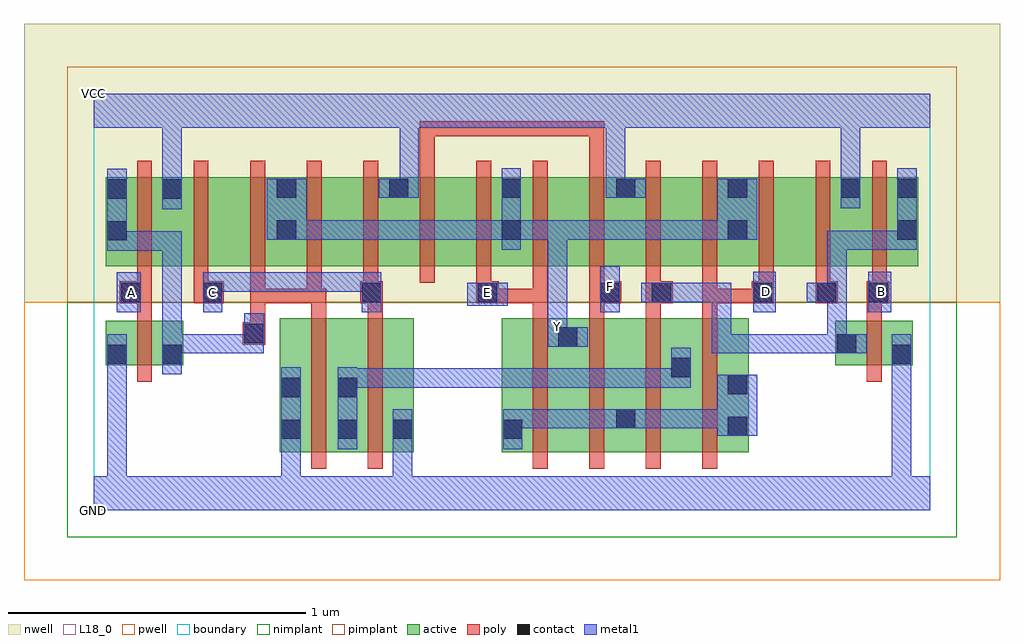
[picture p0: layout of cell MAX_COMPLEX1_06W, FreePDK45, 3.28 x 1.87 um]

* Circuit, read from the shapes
.subckt MAX_COMPLEX1_06W A B C D E F GND VCC Y
M1 n1 A GND VSUBS nfet w=0.15u l=0.05u
M2 n2 n1 GND VSUBS nfet w=0.45u l=0.05u
M3 GND C n2 VSUBS nfet w=0.45u l=0.05u
M4 Y E n3 VSUBS nfet w=0.45u l=0.05u
M5 n3 F Y VSUBS nfet w=0.45u l=0.05u
M6 n2 n4 n3 VSUBS nfet w=0.45u l=0.05u
M7 n3 D n2 VSUBS nfet w=0.45u l=0.05u
M8 GND B n4 VSUBS nfet w=0.15u l=0.05u
M9 VCC A n1 n5 pfet w=0.3u l=0.05u
M10 n6 C VCC n5 pfet w=0.3u l=0.05u
M11 Y n1 n6 n5 pfet w=0.3u l=0.05u
M12 n7 n1 Y n5 pfet w=0.3u l=0.05u
M13 VCC C n7 n5 pfet w=0.3u l=0.05u
M14 n8 F VCC n5 pfet w=0.3u l=0.05u
M15 Y E n8 n5 pfet w=0.3u l=0.05u
M16 n9 E Y n5 pfet w=0.3u l=0.05u
M17 VCC F n9 n5 pfet w=0.3u l=0.05u
M18 n10 n4 VCC n5 pfet w=0.3u l=0.05u
M19 Y D n10 n5 pfet w=0.3u l=0.05u
M20 n11 D Y n5 pfet w=0.3u l=0.05u
M21 VCC n4 n11 n5 pfet w=0.3u l=0.05u
M22 n4 B VCC n5 pfet w=0.3u l=0.05u
.ends

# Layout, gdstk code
import gdstk
lib = gdstk.Library(unit=1e-6, precision=1e-09)
def R(c, l, rs):  # rectangles x0, y0, x1, y1
    for r in rs: c.add(gdstk.rectangle(r[:2], r[2:], *l))
def A(c, l, x, y, w, h, nx, ny, dx, dy):  # array of equal rectangles
    R(c, l, [(x+i*dx, y+j*dy, x+i*dx+w, y+j*dy+h) for i in range(nx) for j in range(ny)])
active = (1, 0)
pwell = (2, 0)
nwell = (3, 0)
nimplant = (4, 0)
pimplant = (5, 0)
poly = (9, 0)
contact = (10, 0)
metal1 = (11, 0)
L18_0 = (18, 0)
boundary = (235, 0)

max_complex1_06w = lib.new_cell('MAX_COMPLEX1_06W')
R(max_complex1_06w, active, [(0.625,0.195,0.7,0.645), (0.625,0.195,0.89,0.645), (0.815,0.195,0.89,0.542), (0.815,0.195,1.075,0.645), (1,0.195,1.075,0.645), (1.37,0.195,1.445,0.645), (1.37,0.195,1.63,0.645), (1.555,0.195,1.63,0.645), (1.555,0.195,1.825,0.645), (1.75,0.195,1.825,0.542), (1.75,0.195,2.01,0.645), (1.935,0.195,2.2,0.645), (1.935,0.195,2.01,0.542), (2.125,0.195,2.2,0.645), (0.04,0.487,0.115,0.637), (0.04,0.487,0.3,0.637), (0.225,0.487,0.3,0.637), (2.492,0.487,2.752,0.637), (2.677,0.487,2.752,0.637), (2.492,0.495,2.567,0.637), (0.04,0.82,0.115,1.12), (0.04,0.82,0.3,1.12), (0.225,0.82,0.3,1.12), (0.225,0.82,0.455,1.12), (0.455,0.82,0.685,1.12), (0.61,0.82,0.685,1.12), (0.61,0.82,0.835,1.12), (0.835,0.82,1.062,1.12), (0.987,0.82,1.215,1.12), (1.215,0.82,1.44,1.12), (1.365,0.82,1.44,1.12), (1.365,0.82,1.595,1.12), (1.595,0.82,1.825,1.12), (1.75,0.82,1.975,1.12), (1.975,0.82,2.2,1.12), (2.125,0.82,2.2,1.12), (2.125,0.82,2.355,1.12), (2.355,0.82,2.58,1.12), (2.505,0.82,2.58,1.12), (2.505,0.82,2.77,1.12), (2.695,0.82,2.77,1.12), (0.987,0.852,1.062,1.12), (1.75,0.852,1.825,1.12)])
R(max_complex1_06w, pwell, [(-0.235,-0.235,3.045,0.7)])
R(max_complex1_06w, nwell, [(-0.235,0.7,3.045,1.635)])
R(max_complex1_06w, nimplant, [(-0.09,-0.09,2.9,0.7)])
R(max_complex1_06w, pimplant, [(-0.09,0.7,2.9,1.49)])
A(max_complex1_06w, poly, 1.475, 0.14, 0.05, 0.56, 4, 1, 0.19, 0)
A(max_complex1_06w, poly, 1.475, 0.65, 0.05, 0.095, 4, 1, 0.19, 0)
A(max_complex1_06w, poly, 0.905, 0.72, 0.05, 0.095, 3, 1, 0.38, 0)
A(max_complex1_06w, poly, 2.235, 0.72, 0.05, 0.095, 3, 1, 0.19, 0)
A(max_complex1_06w, poly, 0.145, 0.765, 0.05, 0.41, 14, 1, 0.19, 0)
R(max_complex1_06w, poly, [(0.73,0.14,0.78,0.7), (0.92,0.14,0.97,0.7), (0.145,0.432,0.195,0.692), (2.597,0.432,2.647,0.692), (0.5,0.557,0.575,0.632), (0.525,0.582,0.575,0.632), (0.525,0.582,0.575,0.632), (0.525,0.582,0.575,0.745), (0.145,0.642,0.195,0.745), (2.597,0.642,2.647,0.745), (0.73,0.65,0.78,0.745), (0.92,0.65,0.97,0.745), (0.087,0.695,0.195,0.77), (0.335,0.695,0.437,0.77), (0.525,0.695,0.575,0.745), (0.525,0.695,0.575,0.815), (0.525,0.695,0.765,0.745), (0.715,0.695,0.765,0.745), (0.715,0.695,0.765,0.745), (0.715,0.695,0.765,0.815), (0.715,0.695,0.78,0.745), (0.895,0.695,0.97,0.77), (1.285,0.695,1.36,0.77), (1.31,0.695,1.36,0.745), (1.31,0.695,1.36,0.745), (1.31,0.695,1.525,0.745), (1.475,0.695,1.525,0.745), (1.475,0.695,1.525,0.815), (1.665,0.695,1.772,0.77), (1.855,0.695,1.945,0.77), (2.045,0.695,2.095,0.745), (2.045,0.695,2.26,0.745), (2.045,0.695,2.095,0.815), (2.21,0.695,2.285,0.77), (2.21,0.695,2.26,0.745), (2.21,0.695,2.26,0.745), (2.425,0.695,2.5,0.77), (2.597,0.695,2.672,0.77), (0.145,0.72,0.195,0.815), (0.335,0.72,0.385,0.815), (1.855,0.72,1.905,0.815), (1.095,1.125,1.145,1.307), (1.665,1.125,1.715,1.307), (1.095,1.257,1.145,1.307), (1.095,1.257,1.145,1.307), (1.095,1.257,1.145,1.307), (1.095,1.257,1.392,1.307), (1.342,1.257,1.392,1.307), (1.342,1.257,1.582,1.307), (1.532,1.257,1.582,1.307), (1.532,1.257,1.582,1.307), (1.532,1.257,1.582,1.307), (1.532,1.257,1.715,1.307), (1.665,1.257,1.715,1.307), (1.665,1.257,1.715,1.307), (1.665,1.257,1.715,1.307)])
R(max_complex1_06w, contact, [(0.63,0.24,0.695,0.305), (0.82,0.24,0.885,0.305), (1.005,0.24,1.07,0.305), (1.375,0.24,1.44,0.305), (2.13,0.25,2.195,0.315), (1.755,0.275,1.82,0.34), (0.63,0.38,0.695,0.445), (0.82,0.38,0.885,0.445), (2.13,0.39,2.195,0.455), (1.94,0.447,2.005,0.512), (0.045,0.492,0.11,0.557), (0.23,0.492,0.295,0.557), (2.682,0.492,2.747,0.557), (2.497,0.527,2.562,0.592), (1.56,0.55,1.625,0.615), (0.505,0.562,0.57,0.627), (0.092,0.7,0.157,0.765), (0.367,0.7,0.432,0.765), (0.9,0.7,0.965,0.765), (1.29,0.7,1.355,0.765), (1.702,0.7,1.767,0.765), (1.875,0.7,1.94,0.765), (2.215,0.7,2.28,0.765), (2.43,0.7,2.495,0.765), (2.602,0.7,2.667,0.765), (0.045,0.907,0.11,0.972), (0.615,0.91,0.68,0.975), (1.37,0.91,1.435,0.975), (2.13,0.91,2.195,0.975), (2.7,0.91,2.765,0.975), (0.045,1.047,0.11,1.112), (0.23,1.047,0.295,1.112), (0.615,1.05,0.68,1.115), (0.992,1.05,1.057,1.115), (1.37,1.05,1.435,1.115), (1.755,1.05,1.82,1.115), (2.13,1.05,2.195,1.115), (2.51,1.05,2.575,1.115), (2.7,1.05,2.765,1.115)])
R(max_complex1_06w, metal1, [(0,0,2.81,0.115), (0.045,0.05,0.11,0.115), (0.045,0.05,0.11,0.115), (0.045,0.05,0.11,0.115), (0.045,0.05,0.11,0.115), (0.045,0.05,0.11,0.522), (0.63,0.05,0.695,0.27), (1.005,0.05,1.07,0.115), (1.005,0.05,1.07,0.115), (1.005,0.05,1.07,0.27), (2.682,0.05,2.747,0.115), (2.682,0.05,2.747,0.115), (2.682,0.05,2.747,0.115), (2.682,0.05,2.747,0.115), (2.682,0.05,2.747,0.522), (0.63,0.205,0.695,0.27), (0.63,0.205,0.695,0.27), (0.63,0.205,0.695,0.48), (0.82,0.205,0.885,0.48), (1.005,0.205,1.07,0.34), (1.375,0.205,1.44,0.34), (2.095,0.25,2.23,0.455), (1.375,0.275,1.44,0.34), (1.375,0.275,1.44,0.34), (1.375,0.275,1.647,0.34), (1.582,0.275,1.647,0.34), (1.582,0.275,1.647,0.34), (1.582,0.275,1.647,0.34), (1.582,0.275,1.785,0.34), (1.72,0.275,1.855,0.34), (1.79,0.275,2.005,0.34), (1.94,0.275,2.005,0.34), (1.94,0.275,2.005,0.34), (1.94,0.275,2.005,0.34), (1.94,0.275,2.142,0.34), (2.077,0.275,2.142,0.34), (2.077,0.275,2.16,0.34), (0.82,0.412,0.885,0.477), (0.82,0.412,0.885,0.477), (0.82,0.412,1.155,0.477), (1.09,0.412,1.155,0.477), (1.09,0.412,1.155,0.477), (1.09,0.412,1.155,0.477), (1.09,0.412,1.292,0.477), (1.227,0.412,1.292,0.477), (1.227,0.412,1.292,0.477), (1.227,0.412,1.292,0.477), (1.227,0.412,1.452,0.477), (1.387,0.412,1.452,0.477), (1.387,0.412,1.452,0.477), (1.387,0.412,1.452,0.477), (1.387,0.412,1.452,0.477), (1.387,0.412,1.452,0.477), (1.387,0.412,1.647,0.477), (1.582,0.412,1.647,0.477), (1.582,0.412,1.647,0.477), (1.582,0.412,1.647,0.477), (1.582,0.412,1.797,0.477), (1.732,0.412,1.797,0.477), (1.732,0.412,1.797,0.477), (1.732,0.412,1.797,0.477), (1.732,0.412,1.797,0.477), (1.732,0.412,1.797,0.477), (1.732,0.412,2.005,0.477), (1.94,0.412,2.005,0.547), (0.045,0.457,0.11,0.522), (0.045,0.457,0.11,0.522), (0.045,0.457,0.11,0.592), (0.23,0.457,0.295,0.592), (2.682,0.457,2.747,0.522), (2.682,0.457,2.747,0.522), (2.682,0.457,2.747,0.592), (0.23,0.527,0.295,0.592), (0.23,0.527,0.295,0.592), (0.23,0.527,0.507,0.592), (0.23,0.527,0.295,0.937), (0.442,0.527,0.507,0.592), (0.442,0.527,0.507,0.592), (0.442,0.527,0.507,0.592), (0.442,0.527,0.57,0.592), (0.505,0.527,0.57,0.662), (2.077,0.527,2.142,0.592), (2.077,0.527,2.142,0.765), (2.077,0.527,2.322,0.592), (2.257,0.527,2.322,0.592), (2.257,0.527,2.322,0.592), (2.257,0.527,2.322,0.592), (2.257,0.527,2.527,0.592), (2.462,0.527,2.527,0.592), (2.462,0.527,2.527,0.592), (2.462,0.527,2.597,0.592), (2.465,0.527,2.53,0.765), (1.525,0.55,1.59,0.615), (1.525,0.55,1.59,0.685), (1.525,0.55,1.66,0.615), (1.525,0.62,1.59,0.975), (0.077,0.665,0.157,0.8), (0.367,0.665,0.432,0.8), (0.9,0.665,0.965,0.8), (1.702,0.665,1.767,0.82), (2.215,0.665,2.292,0.802), (2.602,0.665,2.68,0.802), (1.255,0.687,1.39,0.765), (1.84,0.7,1.975,0.765), (1.91,0.7,2.005,0.765), (1.94,0.7,2.005,0.765), (1.94,0.7,2.142,0.765), (2.077,0.7,2.142,0.765), (2.077,0.7,2.142,0.765), (2.077,0.7,2.142,0.765), (2.395,0.7,2.53,0.765), (2.465,0.7,2.53,0.765), (2.465,0.7,2.53,0.765), (2.465,0.7,2.53,0.94), (0.367,0.735,0.432,0.8), (0.367,0.735,0.432,0.8), (0.367,0.735,0.57,0.8), (0.505,0.735,0.57,0.8), (0.505,0.735,0.715,0.8), (0.65,0.735,0.715,0.8), (0.65,0.735,0.715,0.8), (0.65,0.735,0.715,0.8), (0.65,0.735,0.852,0.8), (0.787,0.735,0.852,0.8), (0.787,0.735,0.965,0.8), (0.045,0.872,0.11,0.937), (0.045,0.872,0.11,0.937), (0.045,0.872,0.11,1.147), (0.045,0.872,0.295,0.937), (0.23,0.872,0.295,0.937), (0.23,0.872,0.295,0.937), (0.23,0.872,0.295,0.937), (1.37,0.875,1.435,1.15), (2.465,0.875,2.53,0.94), (2.465,0.875,2.765,0.94), (2.7,0.875,2.765,0.94), (2.7,0.875,2.765,0.94), (2.7,0.875,2.765,1.15), (0.58,0.91,0.715,1.115), (0.65,0.91,0.715,0.975), (0.65,0.91,0.715,0.975), (0.65,0.91,0.885,0.975), (0.82,0.91,0.885,0.975), (0.82,0.91,0.885,0.975), (0.82,0.91,0.885,0.975), (0.82,0.91,1.155,0.975), (1.09,0.91,1.155,0.975), (1.09,0.91,1.155,0.975), (1.09,0.91,1.155,0.975), (1.09,0.91,1.292,0.975), (1.227,0.91,1.292,0.975), (1.227,0.91,1.292,0.975), (1.227,0.91,1.292,0.975), (1.227,0.91,1.435,0.975), (1.37,0.91,1.435,0.975), (1.37,0.91,1.435,0.975), (1.37,0.91,1.59,0.975), (1.525,0.91,1.59,0.975), (1.525,0.91,1.59,0.975), (1.525,0.91,1.59,0.975), (1.525,0.91,1.797,0.975), (1.732,0.91,1.797,0.975), (1.732,0.91,1.797,0.975), (1.732,0.91,1.797,0.975), (1.732,0.91,2.005,0.975), (1.94,0.91,2.005,0.975), (1.94,0.91,2.142,0.975), (2.077,0.91,2.142,0.975), (2.077,0.91,2.16,0.975), (2.095,0.91,2.23,1.115), (0.23,1.012,0.295,1.147), (2.51,1.015,2.575,1.15), (0.957,1.05,1.092,1.115), (1.027,1.05,1.092,1.35), (1.72,1.05,1.855,1.115), (1.72,1.05,1.785,1.35), (0.23,1.082,0.295,1.147), (0.23,1.082,0.295,1.147), (0.23,1.082,0.295,1.35), (2.51,1.085,2.575,1.15), (2.51,1.085,2.575,1.15), (2.51,1.085,2.575,1.35), (0,1.285,2.81,1.4), (1.027,1.285,1.092,1.35), (1.027,1.285,1.092,1.35), (1.72,1.285,1.785,1.35), (1.72,1.285,1.785,1.35)])
R(max_complex1_06w, L18_0, [(0,0,2.81,0.115), (0.045,0.05,0.11,0.115), (0.045,0.05,0.11,0.115), (0.045,0.05,0.11,0.115), (0.045,0.05,0.11,0.115), (0.045,0.05,0.11,0.522), (0.63,0.05,0.695,0.27), (1.005,0.05,1.07,0.115), (1.005,0.05,1.07,0.115), (1.005,0.05,1.07,0.27), (2.682,0.05,2.747,0.115), (2.682,0.05,2.747,0.115), (2.682,0.05,2.747,0.115), (2.682,0.05,2.747,0.115), (2.682,0.05,2.747,0.522), (0.63,0.205,0.695,0.27), (0.63,0.205,0.695,0.27), (0.63,0.205,0.695,0.48), (1.005,0.205,1.07,0.34), (0.045,0.457,0.11,0.522), (0.045,0.457,0.11,0.522), (0.045,0.457,0.11,0.592), (2.682,0.457,2.747,0.522), (2.682,0.457,2.747,0.522), (2.682,0.457,2.747,0.592), (1.525,0.55,1.59,0.615), (1.525,0.55,1.59,0.685), (1.525,0.55,1.66,0.615), (1.525,0.585,1.59,0.65), (1.525,0.62,1.59,0.975), (0.077,0.665,0.157,0.8), (0.367,0.665,0.432,0.8), (0.9,0.665,0.965,0.8), (1.702,0.665,1.767,0.82), (2.215,0.665,2.292,0.802), (2.602,0.665,2.68,0.802), (1.255,0.687,1.39,0.765), (0.092,0.7,0.157,0.765), (0.367,0.7,0.432,0.765), (1.29,0.7,1.355,0.765), (2.227,0.702,2.292,0.767), (2.615,0.702,2.68,0.767), (1.702,0.72,1.767,0.785), (0.367,0.735,0.432,0.8), (0.367,0.735,0.432,0.8), (0.367,0.735,0.57,0.8), (0.505,0.735,0.57,0.8), (0.505,0.735,0.715,0.8), (0.65,0.735,0.715,0.8), (0.65,0.735,0.715,0.8), (0.65,0.735,0.715,0.8), (0.65,0.735,0.852,0.8), (0.787,0.735,0.852,0.8), (0.787,0.735,0.965,0.8), (1.37,0.875,1.435,1.15), (0.58,0.91,0.715,1.115), (0.65,0.91,0.715,0.975), (0.65,0.91,0.715,0.975), (0.65,0.91,0.885,0.975), (0.82,0.91,0.885,0.975), (0.82,0.91,0.885,0.975), (0.82,0.91,0.885,0.975), (0.82,0.91,1.155,0.975), (1.09,0.91,1.155,0.975), (1.09,0.91,1.155,0.975), (1.09,0.91,1.155,0.975), (1.09,0.91,1.292,0.975), (1.227,0.91,1.292,0.975), (1.227,0.91,1.292,0.975), (1.227,0.91,1.292,0.975), (1.227,0.91,1.435,0.975), (1.37,0.91,1.435,0.975), (1.37,0.91,1.435,0.975), (1.37,0.91,1.59,0.975), (1.525,0.91,1.59,0.975), (1.525,0.91,1.59,0.975), (1.525,0.91,1.59,0.975), (1.525,0.91,1.797,0.975), (1.732,0.91,1.797,0.975), (1.732,0.91,1.797,0.975), (1.732,0.91,1.797,0.975), (1.732,0.91,2.005,0.975), (1.94,0.91,2.005,0.975), (1.94,0.91,2.142,0.975), (2.077,0.91,2.142,0.975), (2.077,0.91,2.16,0.975), (2.095,0.91,2.23,1.115), (0.23,1.012,0.295,1.147), (2.51,1.015,2.575,1.15), (0.957,1.05,1.092,1.115), (1.027,1.05,1.092,1.35), (1.72,1.05,1.855,1.115), (1.72,1.05,1.785,1.35), (0.23,1.082,0.295,1.147), (0.23,1.082,0.295,1.147), (0.23,1.082,0.295,1.35), (2.51,1.085,2.575,1.15), (2.51,1.085,2.575,1.15), (2.51,1.085,2.575,1.35), (0,1.285,2.81,1.4), (1.027,1.285,1.092,1.35), (1.027,1.285,1.092,1.35), (1.72,1.285,1.785,1.35), (1.72,1.285,1.785,1.35)])
R(max_complex1_06w, boundary, [(0,0,2.81,1.4)])
max_complex1_06w.add(gdstk.Label('A', (0.125,0.732), layer=11, texttype=0))
max_complex1_06w.add(gdstk.Label('B', (2.647,0.735), layer=11, texttype=0))
max_complex1_06w.add(gdstk.Label('C', (0.4,0.732), layer=11, texttype=0))
max_complex1_06w.add(gdstk.Label('D', (2.26,0.735), layer=11, texttype=0))
max_complex1_06w.add(gdstk.Label('E', (1.322,0.732), layer=11, texttype=0))
max_complex1_06w.add(gdstk.Label('F', (1.735,0.752), layer=11, texttype=0))
max_complex1_06w.add(gdstk.Label('Y', (1.557,0.617), layer=11, texttype=0))
max_complex1_06w.add(gdstk.Label('VCC', (0,1.4), layer=11, texttype=0))
max_complex1_06w.add(gdstk.Label('GND', (0,0), layer=11, texttype=0))

lib.write_gds('MAX_COMPLEX1_06W.gds')
